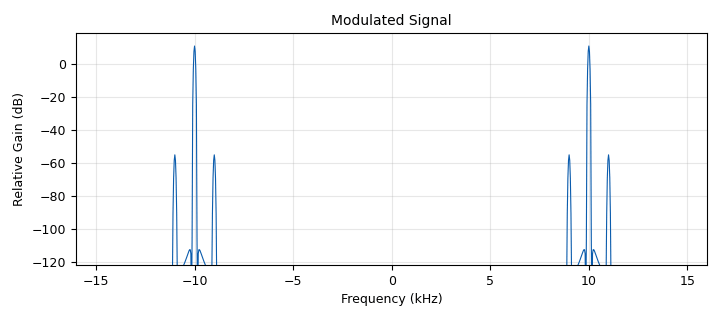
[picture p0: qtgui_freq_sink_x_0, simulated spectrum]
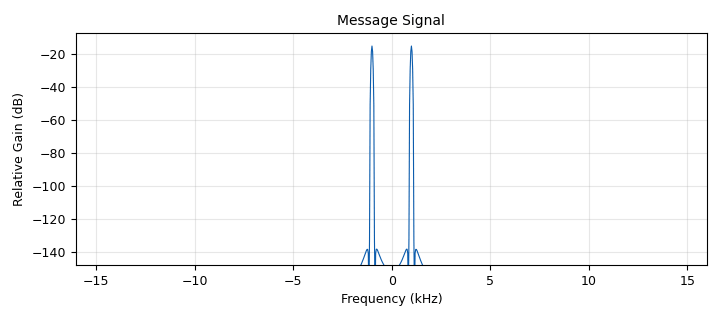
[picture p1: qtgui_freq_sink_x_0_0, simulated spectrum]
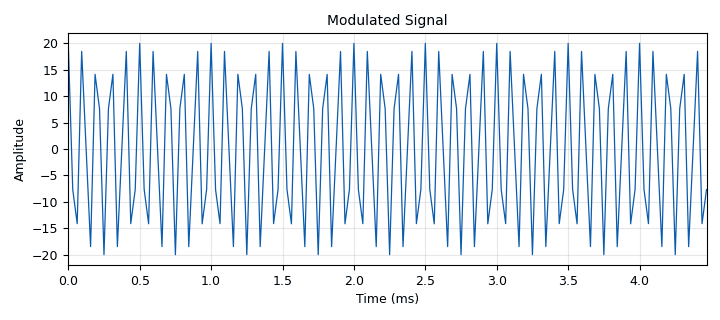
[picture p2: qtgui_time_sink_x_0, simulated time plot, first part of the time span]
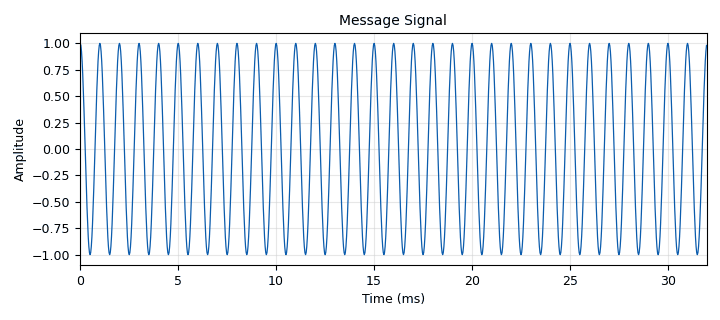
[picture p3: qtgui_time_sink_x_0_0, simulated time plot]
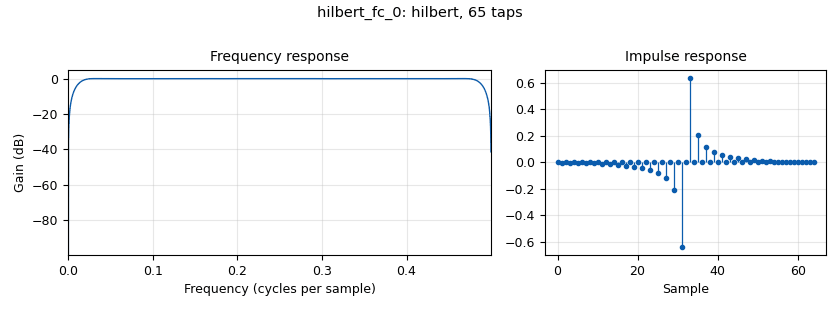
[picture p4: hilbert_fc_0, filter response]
options:
  parameters:
    author: shashank
    generate_options: qt_gui
    id: nbfm_USRP
    output_language: python
    title: nbfm_USRP
  states: {}

blocks:
- name: beta
  id: variable
  parameters:
    value: (kf*msg_amplitude)/(2*3.14*fm)
  states: {}
- name: carrier_amplitude
  id: variable
  parameters:
    value: '20'
  states: {}
- name: fc
  id: variable
  parameters:
    value: '10000'
  states: {}
- name: fm
  id: variable
  parameters:
    value: '1000'
  states: {}
- name: kf
  id: variable
  parameters:
    value: '0.001'
  states: {}
- name: msg_amplitude
  id: variable
  parameters:
    value: '1'
  states: {}
- name: samp_rate
  id: variable
  parameters:
    value: '32000'
  states: {}
- name: analog_sig_source_x_0
  id: analog_sig_source_x
  parameters:
    amp: msg_amplitude
    freq: fm
    offset: '0'
    phase: '0'
    samp_rate: samp_rate
    type: float
    waveform: analog.GR_COS_WAVE
  states: {}
- name: analog_sig_source_x_0_0
  id: analog_sig_source_x
  parameters:
    amp: carrier_amplitude
    freq: fc
    offset: '0'
    phase: '0'
    samp_rate: samp_rate
    type: float
    waveform: analog.GR_COS_WAVE
  states: {}
- name: blocks_add_xx_0
  id: blocks_add_xx
  parameters:
    type: float
  states: {}
- name: blocks_complex_to_float_0
  id: blocks_complex_to_float
  parameters: {}
  states: {}
- name: blocks_float_to_complex_0
  id: blocks_float_to_complex
  parameters: {}
  states: {}
- name: blocks_integrate_xx_0
  id: blocks_integrate_xx
  parameters:
    decim: '1'
    type: float
  states: {}
- name: blocks_multiply_const_vxx_0
  id: blocks_multiply_const_vxx
  parameters:
    const: kf
    type: float
  states: {}
- name: blocks_multiply_const_vxx_1
  id: blocks_multiply_const_vxx
  parameters:
    const: '-1'
    type: float
  states: {}
- name: blocks_multiply_xx_0
  id: blocks_multiply_xx
  parameters:
    type: float
  states: {}
- name: blocks_null_sink_0
  id: blocks_null_sink
  parameters:
    type: float
  states: {}
- name: blocks_throttle_0
  id: blocks_throttle
  parameters:
    samples_per_second: samp_rate
    type: float
  states: {}
- name: hilbert_fc_0
  id: hilbert_fc
  parameters:
    num_taps: '65'
    win: firdes.WIN_HAMMING
  states: {}
- name: qtgui_freq_sink_x_0
  id: qtgui_freq_sink_x
  parameters:
    autoscale: 'True'
    bw: samp_rate
    ctrlpanel: 'True'
    fc: '0'
    fftsize: '1024'
    grid: 'True'
    name: '"Modulated Signal"'
    type: float
    wintype: firdes.WIN_BLACKMAN_hARRIS
  states: {}
- name: qtgui_freq_sink_x_0_0
  id: qtgui_freq_sink_x
  parameters:
    autoscale: 'True'
    bw: samp_rate
    ctrlpanel: 'True'
    fc: '0'
    fftsize: '1024'
    grid: 'True'
    name: '"Message Signal"'
    type: float
    wintype: firdes.WIN_BLACKMAN_hARRIS
  states: {}
- name: qtgui_time_sink_x_0
  id: qtgui_time_sink_x
  parameters:
    autoscale: 'True'
    ctrlpanel: 'True'
    grid: 'True'
    name: '"Modulated Signal"'
    size: '1024'
    srate: samp_rate
    type: float
  states: {}
- name: qtgui_time_sink_x_0_0
  id: qtgui_time_sink_x
  parameters:
    autoscale: 'True'
    ctrlpanel: 'True'
    grid: 'True'
    name: '"Message Signal"'
    size: '1024'
    srate: samp_rate
    type: float
  states: {}
- name: uhd_usrp_sink_0
  id: uhd_usrp_sink
  parameters:
    ant0: '"TX/RX"'
    center_freq0: 1e9
    dev_addr: '"Serial=32428D5"'
    gain0: '70'
    norm_gain0: 'False'
    samp_rate: samp_rate
    sync: sync
    type: fc32
  states: {}

connections:
- [analog_sig_source_x_0, '0', blocks_integrate_xx_0, '0']
- [analog_sig_source_x_0, '0', qtgui_freq_sink_x_0_0, '0']
- [analog_sig_source_x_0, '0', qtgui_time_sink_x_0_0, '0']
- [analog_sig_source_x_0_0, '0', blocks_add_xx_0, '1']
- [analog_sig_source_x_0_0, '0', hilbert_fc_0, '0']
- [blocks_add_xx_0, '0', blocks_throttle_0, '0']
- [blocks_complex_to_float_0, '0', blocks_null_sink_0, '0']
- [blocks_complex_to_float_0, '1', blocks_multiply_xx_0, '1']
- [blocks_float_to_complex_0, '0', uhd_usrp_sink_0, '0']
- [blocks_integrate_xx_0, '0', blocks_multiply_const_vxx_0, '0']
- [blocks_multiply_const_vxx_0, '0', blocks_multiply_xx_0, '0']
- [blocks_multiply_const_vxx_1, '0', blocks_add_xx_0, '0']
- [blocks_multiply_xx_0, '0', blocks_multiply_const_vxx_1, '0']
- [blocks_throttle_0, '0', blocks_float_to_complex_0, '0']
- [blocks_throttle_0, '0', qtgui_freq_sink_x_0, '0']
- [blocks_throttle_0, '0', qtgui_time_sink_x_0, '0']
- [hilbert_fc_0, '0', blocks_complex_to_float_0, '0']

metadata:
  file_format: 1
